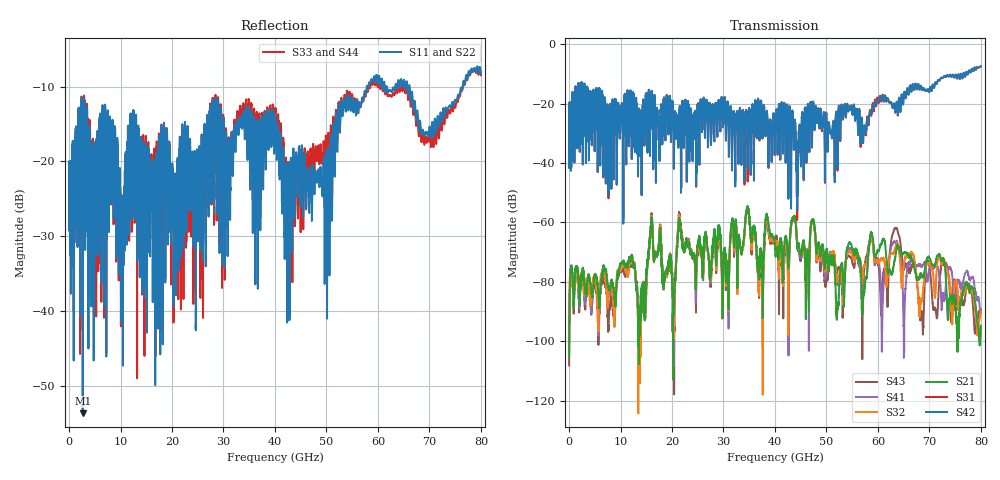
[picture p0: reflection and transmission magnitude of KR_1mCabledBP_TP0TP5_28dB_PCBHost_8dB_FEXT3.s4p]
!! Reference: shanbhag_3dj_02_2305.pdf
!! CHANNEL DESCRIPTION: TP0_TP5 KR Channel using 1meter Cabled BP, PCB Host
!! CABLE DESCRIPTION: 1meter 26AWG Cable
!! MODEL STATUS: Developmental
!! PORT DEFINITIONS:
!! Port  1  ----->  Side A  Side B  <-----  Port  2
!! Port  3  ----->  Side A  Side B  <-----  Port  4
# HZ S MA R 50.000000
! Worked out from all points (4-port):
!   8000 points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, 10 MHz to 80 GHz, reference 50 ohm
!   strongest paths, dB at 10 MHz, 20.01 GHz, 40.01 GHz, 60.01 GHz, 80 GHz:
!     S42: -27.2, -22.7, -31.4, -18.9, -7.4
!     S31: -27.2, -22.7, -31.2, -18.5, -7.4
!     S21: -105.3, -82.4, -68.5, -69.5, -94.7
!     S32: -99.0, -79.8, -67.4, -73.2, -89.8
!     S41: -103.6, -79.4, -66.7, -72.0, -90.2
!     S43: -108.1, -77.3, -66.0, -73.4, -89.3
!   lowest |S11| = -53.6 dB at 2.65 GHz (marker M1), VSWR 1.00, Z = 49.8 - j0.00215 ohm
!   |S11| at or under -10 dB: start of sweep to 57.86 GHz; 61.73 GHz to 63.35 GHz (1.617 GHz wide, 2.58 % of centre); 66.16 GHz to 76.45 GHz (10.28 GHz wide, 14.4 % of centre)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
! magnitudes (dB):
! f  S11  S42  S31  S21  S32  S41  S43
! 10 MHz  -24.2  -27.2  -27.2  -105.3  -99.0  -103.6  -108.1
! 2.65 GHz  -53.6  -24.6  -24.7  -76.0  -79.3  -78.5  -77.7
! 15.93 GHz  -22.4  -20.8  -20.8  -60.1  -59.6  -59.6  -58.8
! 20.35 GHz  -31.3  -38.7  -38.8  -85.9  -88.7  -91.9  -85.3
! 21.48 GHz  -18.5  -23.6  -23.6  -59.1  -58.2  -58.2  -57.1
! 44.37 GHz  -23.9  -41.3  -42.4  -68.6  -68.1  -68.5  -68.8
! 80 GHz  -8.3  -7.4  -7.4  -94.7  -89.8  -90.2  -89.3
